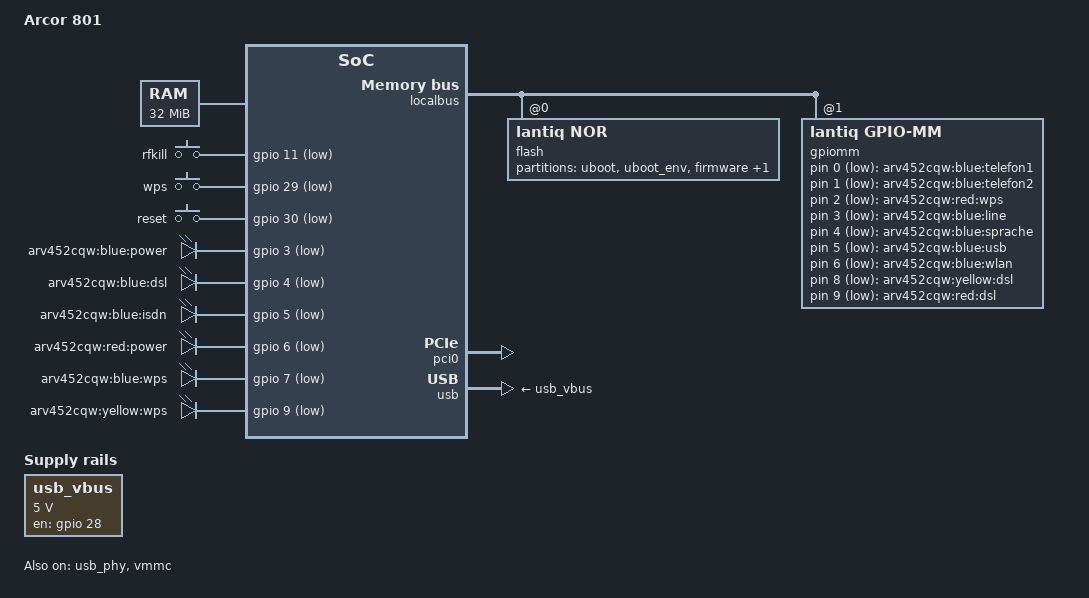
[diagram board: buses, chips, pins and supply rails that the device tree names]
/dts-v1/;

#include "danube.dtsi"

#include <dt-bindings/input/input.h>

/ {
	compatible = "arcadyan,arv452cqw", "lantiq,xway", "lantiq,danube";
	model = "Arcor 801";

	chosen {
		bootargs = "console=ttyLTQ0,115200";
	};

	aliases {
		led-boot = &power_blue;
		led-failsafe = &power_red;
		led-running = &power_blue;
		led-upgrade = &power_blue;

		led-dsl = &dsl_blue;
		led-usb = &led_usb;
		led-wifi = &wifi;
	};

	memory@0 {
		device_type = "memory";
		reg = <0x0 0x2000000>;
	};

	ath5k_eep {
		compatible = "ath5k,eeprom";
		ath,eep-flash = <&boardconfig 0x400>;
		ath,mac-offset = <0x0>;
		ath,eep-swap;
	};

	keys {
		compatible = "gpio-keys-polled";
		poll-interval = <100>;

		rfkill {
			label = "rfkill";
			gpios = <&gpio 11 GPIO_ACTIVE_LOW>;
			linux,code = <KEY_RFKILL>;
		};
		wps {
			label = "wps";
			gpios = <&gpio 29 GPIO_ACTIVE_LOW>;
			linux,code = <KEY_WPS_BUTTON>;
		};
		reset {
			label = "reset";
			gpios = <&gpio 30 GPIO_ACTIVE_LOW>;
			linux,code = <KEY_RESTART>;
		};
	};

	leds {
		compatible = "gpio-leds";
		power_blue: power0 {
			label = "arv452cqw:blue:power";
			gpios = <&gpio 3 GPIO_ACTIVE_LOW>;
			default-state = "keep";
		};
		dsl_blue: dsl {
			label = "arv452cqw:blue:dsl";
			gpios = <&gpio 4 GPIO_ACTIVE_LOW>;
		};
		isdn {
			label = "arv452cqw:blue:isdn";
			gpios = <&gpio 5 GPIO_ACTIVE_LOW>;
		};
		power_red: power1 {
			label = "arv452cqw:red:power";
			gpios = <&gpio 6 GPIO_ACTIVE_LOW>;
		};
		wps {
			label = "arv452cqw:blue:wps";
			gpios = <&gpio 7 GPIO_ACTIVE_LOW>;
		};
		wps1 {
			label = "arv452cqw:yellow:wps";
			gpios = <&gpio 9 GPIO_ACTIVE_LOW>;
		};
		fxs1 {
			label = "arv452cqw:blue:telefon1";
			gpios = <&gpiomm 0 GPIO_ACTIVE_LOW>;
		};
		fxs2 {
			label = "arv452cqw:blue:telefon2";
			gpios = <&gpiomm 1 GPIO_ACTIVE_LOW>;
		};
		wps2 {
			label = "arv452cqw:red:wps";
			gpios = <&gpiomm 2 GPIO_ACTIVE_LOW>;
		};
		fxo {
			label = "arv452cqw:blue:line";
			gpios = <&gpiomm 3 GPIO_ACTIVE_LOW>;
		};
		voice {
			label = "arv452cqw:blue:sprache";
			gpios = <&gpiomm 4 1>;
		};
		led_usb: usb {
			label = "arv452cqw:blue:usb";
			gpios = <&gpiomm 5 GPIO_ACTIVE_LOW>;
		};
		wifi: wifi {
			label = "arv452cqw:blue:wlan";
			gpios = <&gpiomm 6 GPIO_ACTIVE_LOW>;
		};
		/*
			internet blue and internet red are missing
			dsl2 and dsl3 are not referenced in manual
		*/
		dsl2 {
			label = "arv452cqw:yellow:dsl";
			gpios = <&gpiomm 8 GPIO_ACTIVE_LOW>;
		};
		dsl3 {
			label = "arv452cqw:red:dsl";
			gpios = <&gpiomm 9 GPIO_ACTIVE_LOW>;
		};
	};

	usb_vbus: regulator-usb-vbus {
		compatible = "regulator-fixed";

		regulator-name = "USB_VBUS";

		regulator-min-microvolt = <5000000>;
		regulator-max-microvolt = <5000000>;

		gpio = <&gpio 28 GPIO_ACTIVE_HIGH>;
		enable-active-high;
	};
};

&gpio {
	pinctrl-names = "default";
	pinctrl-0 = <&state_default>;

	state_default: pinmux {
		ebu {
			lantiq,groups = "ebu cs1";
			lantiq,function = "ebu";
		};
		pci_in {
			lantiq,groups = "req1";
			lantiq,function = "pci";
			lantiq,open-drain = <1>;
			lantiq,pull = <2>;
			lantiq,output = <0>;
		};
		pci_out {
			lantiq,groups = "gnt1";
			lantiq,function = "pci";
			lantiq,output = <1>;
		};
		pci_rst {
			lantiq,pins = "io21";
			lantiq,pull = <0>;
			lantiq,output = <1>;
		};
		leds {
			lantiq,pins = "io3", "io5", "io6", "io7", "io9";
			lantiq,output = <1>;
		};
	};
};

/*
#define ARV452CPW_SWITCH_RESET          110
*/
&gsw {
	phy-mode = "rmii";
	mtd-mac-address = <&boardconfig 0x16>;
};

&localbus {
	flash@0 {
		compatible = "lantiq,nor";
		bank-width = <2>;
		reg = <0 0x0 0x400000>;

		partitions {
			compatible = "fixed-partitions";
			#address-cells = <1>;
			#size-cells = <1>;

			partition@0 {
				label = "uboot";
				reg = <0x00000 0x10000>;
				read-only;
			};

			partition@10000 {
				label = "uboot_env";
				reg = <0x10000 0x10000>;
				read-only;
			};

			partition@20000 {
				label = "firmware";
				reg = <0x20000 0x3d0000>;
			};

			boardconfig: partition@3f0000 {
				label = "boardconfig";
				reg = <0x3f0000 0x10000>;
				read-only;
			};
		};
	};

	gpiomm: gpio@1 {
		compatible = "lantiq,gpio-mm";
		reg = <1 0x0 0x10 >;
		#address-cells = <1>;
		#size-cells = <1>;
		#gpio-cells = <2>;
		gpio-controller;
		lantiq,shadow = <0x77f>;
	};
};

&pci0 {
	status = "okay";
	lantiq,external-clock;
	gpio-reset = <&gpio 21 GPIO_ACTIVE_HIGH>;
};

&usb_phy {
	status = "okay";
};

&usb {
	status = "okay";
	vbus-supply = <&usb_vbus>;
};

&vmmc {
	status = "okay";
	gpios = <&gpio 31 GPIO_ACTIVE_HIGH
		&gpiomm 7 GPIO_ACTIVE_HIGH>;
};
